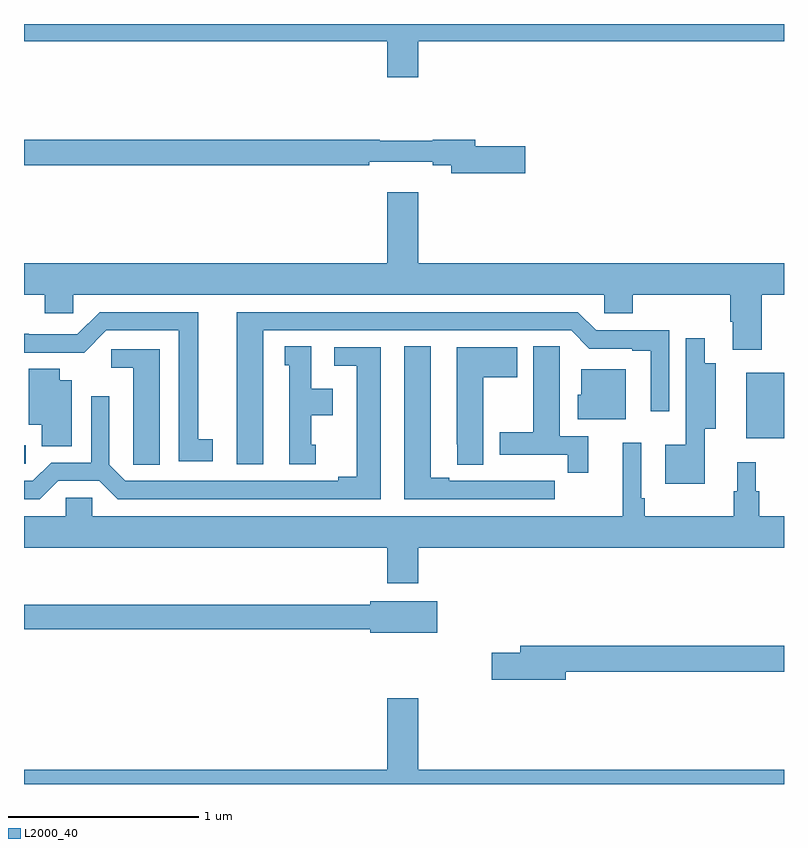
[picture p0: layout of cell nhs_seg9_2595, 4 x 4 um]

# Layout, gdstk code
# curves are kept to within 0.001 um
import gdstk
lib = gdstk.Library(unit=1e-6, precision=1e-09)
def R(c, l, rs):  # rectangles x0, y0, x1, y1
    for r in rs: c.add(gdstk.rectangle(r[:2], r[2:], *l))
def P(c, l, *ps):  # polygons
    for p in ps: c.add(gdstk.Polygon(p, *l))
L2000_40 = (2000, 40)

nhs_seg9_2595 = lib.new_cell('nhs_seg9_2595')
R(nhs_seg9_2595, L2000_40, [(259,1206.186,259.009,1206.282), (262.802,1206.32,263,1206.664)])
P(nhs_seg9_2595, L2000_40, [(261.076,1208.408),(263,1208.408),(263,1208.5),(259,1208.5),(259,1208.408),(260.912,1208.408),(260.912,1208.22),(261.076,1208.22)],
  [(261.637,1207.856),(261.376,1207.856),(261.376,1207.892),(261.152,1207.892),(261.152,1207.885),(260.872,1207.885),(260.872,1207.892),(259,1207.892),(259,1207.756),(260.816,1207.756),(260.816,1207.775),(261.152,1207.775),(261.152,1207.756),(261.248,1207.756),(261.248,1207.714),(261.637,1207.714)],
  [(262.883,1207.076),(263,1207.076),(263,1207.24),(261.076,1207.24),(261.076,1207.615),(260.912,1207.615),(260.912,1207.24),(259,1207.24),(259,1207.076),(259.109,1207.076),(259.109,1206.978),(259.26,1206.978),(259.26,1207.076),(262.053,1207.076),(262.053,1206.978),(262.205,1206.978),(262.205,1207.076),(262.718,1207.076),(262.718,1206.934),(262.73,1206.934),(262.73,1206.786),(262.883,1206.786)],
  [(259.993,1206.314),(259.918,1206.314),(259.918,1206.984),(259.398,1206.984),(259.281,1206.867),(259.025,1206.867),(259.025,1206.869),(259,1206.869),(259,1206.771),(259.316,1206.77),(259.434,1206.888),(259.814,1206.888),(259.814,1206.198),(259.993,1206.198)],
  [(260.26,1206.888),(261.879,1206.888),(261.975,1206.792),(262.202,1206.792),(262.202,1206.78),(262.298,1206.78),(262.298,1206.462),(262.395,1206.462),(262.395,1206.888),(262.011,1206.888),(261.915,1206.984),(260.12,1206.984),(260.12,1206.183),(260.26,1206.183)],
  [(262.584,1206.371),(262.642,1206.371),(262.642,1206.715),(262.582,1206.715),(262.582,1206.847),(262.484,1206.847),(262.484,1206.611),(262.483,1206.611),(262.483,1206.286),(262.376,1206.286),(262.376,1206.08),(262.584,1206.08)],
  [(260.536,1206.285),(260.512,1206.285),(260.512,1206.44),(260.626,1206.44),(260.626,1206.58),(260.512,1206.58),(260.512,1206.803),(260.372,1206.803),(260.372,1206.705),(260.396,1206.705),(260.396,1206.183),(260.536,1206.183)],
  [(261.793,1206.096),(261.68,1206.096),(261.68,1206.097),(261.514,1206.097),(261.514,1206.096),(261.238,1206.096),(261.238,1206.111),(261.142,1206.111),(261.142,1206.803),(261.002,1206.803),(261.002,1206),(261.793,1206)],
  [(261.971,1206.33),(261.82,1206.33),(261.82,1206.692),(261.819,1206.692),(261.819,1206.803),(261.68,1206.803),(261.68,1206.351),(261.503,1206.351),(261.503,1206.234),(261.862,1206.234),(261.862,1206.138),(261.971,1206.138)],
  [(261.418,1206.64),(261.595,1206.64),(261.595,1206.799),(261.278,1206.799),(261.278,1206.289),(261.279,1206.289),(261.279,1206.181),(261.418,1206.181)],
  [(259.179,1206.096),(259.397,1206.096),(259.493,1206),(260.878,1206),(260.878,1206.798),(260.634,1206.798),(260.634,1206.702),(260.75,1206.702),(260.75,1206.116),(260.654,1206.116),(260.654,1206.096),(259.533,1206.096),(259.449,1206.18),(259.449,1206.541),(259.353,1206.541),(259.353,1206.192),(259.143,1206.192),(259.047,1206.096),(259,1206.096),(259,1206),(259.083,1206)],
  [(259.714,1206.789),(259.458,1206.789),(259.458,1206.692),(259.574,1206.692),(259.574,1206.289),(259.575,1206.289),(259.575,1206.181),(259.714,1206.181)],
  [(259.252,1206.625),(259.189,1206.625),(259.189,1206.686),(259.025,1206.686),(259.025,1206.392),(259.094,1206.392),(259.094,1206.277),(259.252,1206.277)],
  [(262.168,1206.682),(261.932,1206.682),(261.932,1206.549),(261.914,1206.549),(261.914,1206.419),(262.168,1206.419)],
  [(261.076,1205.744),(263,1205.744),(263,1205.908),(262.871,1205.908),(262.871,1206.042),(262.852,1206.042),(262.852,1206.193),(262.754,1206.193),(262.754,1206.042),(262.735,1206.042),(262.735,1205.908),(262.268,1205.908),(262.268,1206.004),(262.248,1206.004),(262.248,1206.295),(262.151,1206.295),(262.151,1205.908),(259.359,1205.908),(259.359,1206.006),(259.221,1206.006),(259.221,1205.908),(259,1205.908),(259,1205.744),(260.912,1205.744),(260.912,1205.556),(261.076,1205.556)],
  [(261.175,1205.461),(260.822,1205.461),(260.822,1205.443),(259,1205.443),(259,1205.314),(260.822,1205.314),(260.822,1205.296),(261.175,1205.296)],
  [(261.85,1205.092),(263,1205.092),(263,1205.228),(261.611,1205.228),(261.611,1205.192),(261.462,1205.192),(261.462,1205.05),(261.85,1205.05)],
  [(263,1204.576),(261.076,1204.576),(261.076,1204.951),(260.912,1204.951),(260.912,1204.576),(259,1204.576),(259,1204.5),(263,1204.5)])

lib.write_gds('nhs_seg9_2595.gds')
